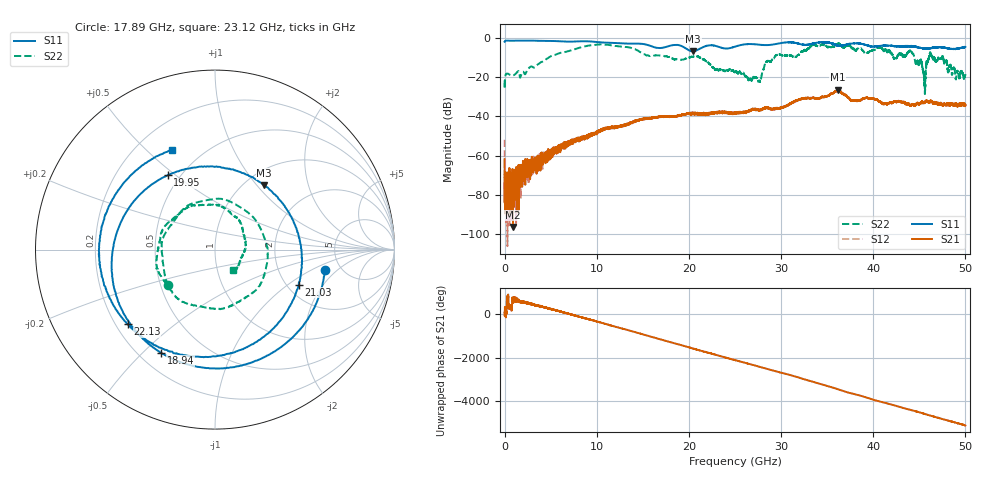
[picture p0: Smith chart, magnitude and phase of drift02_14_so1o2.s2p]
!Created with skrf (http://scikit-rf.org).
# Hz S RI R 50.0
!freq ReS11 ImS11 ReS21 ImS21 ReS12 ImS12 ReS22 ImS22
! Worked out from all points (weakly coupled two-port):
!   10001 points, 300 kHz to 50 GHz, reference 50 ohm
!   highest |S21| = -26.32 dB at 36.14 GHz (marker M1); lowest = -96.3 dB at 915.3 MHz (marker M2)
!   lowest |S11| = -6.9 dB at 20.45 GHz (marker M3), VSWR 2.64, Z = 60.9 + j54.7 ohm
!   |S11| at or under -10 dB: nowhere
!   |S22| runs from -28.6 to -2.7 dB; largest |S21 - S12| = 0.0051
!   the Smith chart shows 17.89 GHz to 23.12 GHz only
!   S11 on the Smith chart (normalised r, x): 17.89 GHz: 3.75, -1.38; 18.94 GHz: 0.29, -0.57; 19.95 GHz: 0.43, +0.47; 21.03 GHz: 2.31, -1.21; 22.13 GHz: 0.25, -0.35; 23.12 GHz: 0.34, +0.60
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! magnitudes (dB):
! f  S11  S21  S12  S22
! 300 kHz  -2.1  -61.7  -51.9  -21.7
! 270.3 MHz  -1.4  -83.8  -83.7  -18.2
! 915.3 MHz  -1.5  -96.3  -92.4  -19.1
! 8.335 GHz  -1.7  -51.4  -51.5  -4.8
! 16.67 GHz  -5.2  -40.4  -40.4  -9.0
! 17.89 GHz  -4.1  -40.4  -40.0  -9.7
! 18.94 GHz  -3.8  -39.6  -39.7  -10.9
! 19.95 GHz  -6.2  -38.6  -38.6  -9.9
! 20.45 GHz  -6.9  -38.5  -38.3  -9.7
! 21.03 GHz  -5.9  -38.9  -38.4  -9.5
! 22.13 GHz  -3.9  -38.5  -38.3  -12.8
! 23.12 GHz  -4.4  -38.5  -38.0  -16.3
! 25 GHz  -4.5  -38.4  -38.3  -17.5
! 27.61 GHz  -3.5  -36.6  -36.7  -21.9
! 28.5 GHz  -3.7  -35.3  -35.8  -12.1
! 33.34 GHz  -3.0  -30.6  -30.6  -3.8
! 36.14 GHz  -3.9  -26.3  -27.0  -3.1
! 41.67 GHz  -3.9  -33.4  -33.3  -6.3
! 44.12 GHz  -4.1  -34.4  -34.4  -7.2
! 45.5 GHz  -5.4  -33.0  -33.1  -18.6
! 46.25 GHz  -5.3  -32.1  -32.3  -8.1
! 50 GHz  -4.7  -34.4  -34.4  -19.3
